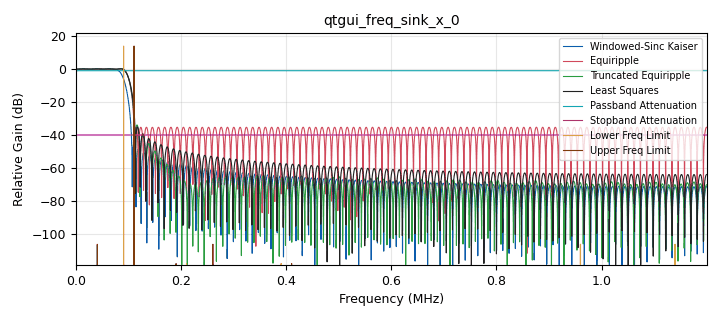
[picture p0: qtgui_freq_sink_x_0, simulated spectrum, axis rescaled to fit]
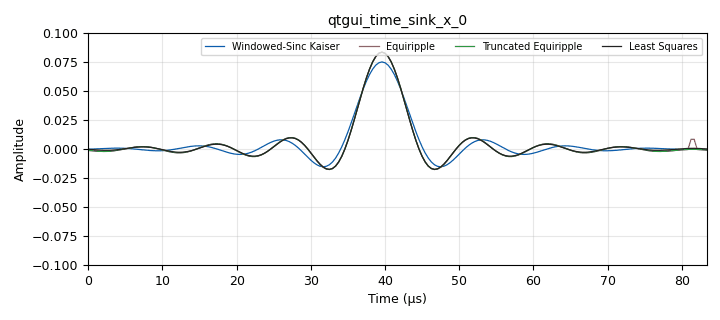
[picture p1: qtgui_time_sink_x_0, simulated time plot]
options:
  parameters:
    author: Gary Schafer
    comment: |-
      This flowgraph compares two optimal filters
      (a least squares filter and an equiripple / Remez
      filter) with a windowed-sinc filter using the same
      passband edge, stopband edge, transition
      width, and number of taps.
    generate_options: qt_gui
    id: optimalFilter
    output_language: python
    title: Optimal Filters
  states: {}

blocks:
- name: N
  id: variable
  parameters:
    value: 2**14
  states: {}
- name: a
  id: variable
  parameters:
    comment: 'Value: [1,1,0,0]'
    value: '[1,1,0,0]'
  states: {}
- name: freq
  id: variable
  parameters:
    comment: 'Value: [0,passband*1000,stopband*1000,samp_rate/2]'
    value: '[0,passband*1000,stopband*1000,samp_rate/2]'
  states: {}
- name: k
  id: variable_qtgui_range
  parameters:
    gui_hint: 2,0,1,20
    label: 'Kaiser Beta Value: '
    start: '1'
    step: '0.05'
    stop: '20'
    value: '4'
  states: {}
- name: ls_freq
  id: variable
  parameters:
    comment: 'Value: [0,passband,stopband,samp_rate/2]'
    value: '[0,passband*1000,stopband*1000,samp_rate/2]'
  states: {}
- name: lstaps
  id: variable
  parameters:
    comment: 'Value: sig.firls(firtapsLength,freq,a)'
    value: sig.firls(num_taps,ls_freq,a,fs=samp_rate)
  states: {}
- name: num_taps
  id: variable_qtgui_range
  parameters:
    gui_hint: 1,0,1,20
    label: 'Number of taps: '
    rangeType: int
    start: '11'
    step: '2'
    stop: '2001'
    value: '201'
  states: {}
- name: optfirTaps
  id: variable
  parameters:
    value: sig.remez(num_taps,[0, passband*1000, stopband*1000, samp_rate/2], [1,0],fs=samp_rate)
  states: {}
- name: optfirTapsTrunc
  id: variable
  parameters:
    value: optfirTaps[1:-1]
  states: {}
- name: passband
  id: variable_qtgui_range
  parameters:
    gui_hint: 0,0,1,10
    label: Passband (kHz)
    start: '50'
    step: '0.1'
    stop: '200'
    value: '90'
  states: {}
- name: passband_atten
  id: variable_qtgui_label
  parameters:
    gui_hint: 4,0,1,5
    label: 'Required passband attenuation (dB): '
    type: real
    value: '1'
  states: {}
- name: passband_atten_lin
  id: variable
  parameters:
    value: 10**(-passband_atten/20)
  states: {}
- name: samp_rate
  id: variable
  parameters:
    value: 2.4e6
  states: {}
- name: stopband
  id: variable_qtgui_range
  parameters:
    gui_hint: 0,10,1,10
    label: 'Stopband (kHz): '
    start: '50'
    step: '0.1'
    stop: '200'
    value: '110'
  states: {}
- name: stopband_atten
  id: variable_qtgui_label
  parameters:
    gui_hint: 4,5,1,5
    label: 'Required stopband attenuation (dB): '
    type: real
    value: '40'
  states: {}
- name: stopband_atten_lin
  id: variable
  parameters:
    value: 10**(-stopband_atten/20)
  states: {}
- name: tap_max
  id: variable
  parameters:
    value: 1.2*np.max(optfirTaps)
  states: {}
- name: trans_width
  id: variable
  parameters:
    value: (stopband-passband)*1000
  states: {}
- name: win_sinc
  id: variable
  parameters:
    comment: 'Value: sig.firwin(num_taps, (passband*1000), window=(''kaiser'',k), fs=samp_rate)'
    value: sig.firwin(num_taps, (passband*1000), window=('kaiser',k), fs=samp_rate)
  states: {}
- name: analog_sig_source_x_0
  id: analog_sig_source_x
  parameters:
    amp: '10'
    freq: samp_rate/N*751
    offset: '0'
    phase: '0'
    samp_rate: samp_rate
    type: float
    waveform: analog.GR_COS_WAVE
  states: {}
- name: analog_sig_source_x_0_0
  id: analog_sig_source_x
  parameters:
    amp: '10'
    freq: samp_rate/N*615
    offset: '0'
    phase: '0'
    samp_rate: samp_rate
    type: float
    waveform: analog.GR_COS_WAVE
  states: {}
- name: blocks_delay_0
  id: blocks_delay
  parameters:
    delay: '1'
    type: float
  states: {}
- name: blocks_throttle2_0
  id: blocks_throttle2
  parameters:
    samples_per_second: samp_rate
    type: float
  states: {}
- name: blocks_vector_source_x_0
  id: blocks_vector_source_x
  parameters:
    comment: 'Vector: (N,)+(0,)*(N-1)'
    repeat: 'True'
    type: float
    vector: (N,)+(0,)*(N-1)
  states: {}
- name: blocks_vector_source_x_0_0
  id: blocks_vector_source_x
  parameters:
    comment: 'Vector: (N,)+(0,)*(N-1)'
    repeat: 'True'
    type: float
    vector: '[1,]+[0,]*int(num_taps-1)'
  states: {}
- name: blocks_vector_source_x_0_1
  id: blocks_vector_source_x
  parameters:
    repeat: 'True'
    type: float
    vector: '[(N*stopband_atten_lin),]+[0,]*int(N-1)'
  states: {}
- name: blocks_vector_source_x_0_1_0
  id: blocks_vector_source_x
  parameters:
    repeat: 'True'
    type: float
    vector: '[(N*passband_atten_lin),]+[0,]*int(N-1)'
  states: {}
- name: fft_filter_xxx_0
  id: fft_filter_xxx
  parameters:
    comment: Least square filter
    decim: '1'
    taps: lstaps
    type: fff
  states: {}
- name: fft_filter_xxx_0_0
  id: fft_filter_xxx
  parameters:
    comment: Least square filter
    decim: '1'
    taps: lstaps
    type: fff
  states: {}
- name: fft_filter_xxx_1
  id: fft_filter_xxx
  parameters:
    comment: Optimal filter
    decim: '1'
    taps: optfirTaps
    type: fff
  states: {}
- name: fft_filter_xxx_1_0
  id: fft_filter_xxx
  parameters:
    comment: Truncated optimal filter
    decim: '1'
    taps: optfirTapsTrunc
    type: fff
  states: {}
- name: fft_filter_xxx_1_0_0
  id: fft_filter_xxx
  parameters:
    comment: Windowed-sinc filter
    decim: '1'
    taps: win_sinc
    type: fff
  states: {}
- name: fft_filter_xxx_1_0_0_0
  id: fft_filter_xxx
  parameters:
    comment: Windowed-sinc filter
    decim: '1'
    taps: win_sinc
    type: fff
  states: {}
- name: fft_filter_xxx_1_0_1
  id: fft_filter_xxx
  parameters:
    comment: Truncated optimal filter
    decim: '1'
    taps: optfirTapsTrunc
    type: fff
  states: {}
- name: fft_filter_xxx_1_1
  id: fft_filter_xxx
  parameters:
    comment: Optimal filter
    decim: '1'
    taps: optfirTaps
    type: fff
  states: {}
- name: import_0
  id: import
  parameters:
    comment: 'Import: import scipy.signal as sig'
    imports: import scipy.signal as sig
  states: {}
- name: import_1
  id: import
  parameters:
    comment: 'Import: import numpy as np'
    imports: import numpy as np
  states: {}
- name: myTabs
  id: qtgui_tab_widget
  parameters:
    gui_hint: 5,0,20,20
    label0: Frequency Response
    label1: Impulse Response
    num_tabs: '2'
  states: {}
- name: qtgui_freq_sink_x_0
  id: qtgui_freq_sink_x
  parameters:
    bw: samp_rate
    color5: '"dark green"'
    color6: '"dark green"'
    color7: '"dark red"'
    fc: '0'
    fftsize: N
    freqhalf: 'False'
    grid: 'True'
    gui_hint: myTabs@0
    label1: Windowed-Sinc Kaiser
    label2: Equiripple
    label3: Truncated Equiripple
    label4: Least Squares
    label5: Passband Attenuation
    label6: Stopband Attenuation
    label7: Lower Freq Limit
    label8: Upper Freq Limit
    nconnections: '8'
    type: float
    width1: '2'
    width2: '2'
    width3: '2'
    width4: '2'
    wintype: window.WIN_RECTANGULAR
  states: {}
- name: qtgui_time_sink_x_0
  id: qtgui_time_sink_x
  parameters:
    grid: 'True'
    gui_hint: myTabs@1
    label1: Windowed-Sinc Kaiser
    label2: Equiripple
    label3: Truncated Equiripple
    label4: Least Squares
    nconnections: '4'
    size: num_taps
    srate: samp_rate
    type: float
    ymax: tap_max
    ymin: '-tap_max'
  states: {}

connections:
- [analog_sig_source_x_0, '0', qtgui_freq_sink_x_0, '7']
- [analog_sig_source_x_0_0, '0', qtgui_freq_sink_x_0, '6']
- [blocks_delay_0, '0', fft_filter_xxx_1_0_1, '0']
- [blocks_throttle2_0, '0', fft_filter_xxx_0, '0']
- [blocks_throttle2_0, '0', fft_filter_xxx_1, '0']
- [blocks_throttle2_0, '0', fft_filter_xxx_1_0, '0']
- [blocks_throttle2_0, '0', fft_filter_xxx_1_0_0, '0']
- [blocks_vector_source_x_0, '0', blocks_throttle2_0, '0']
- [blocks_vector_source_x_0_0, '0', blocks_delay_0, '0']
- [blocks_vector_source_x_0_0, '0', fft_filter_xxx_0_0, '0']
- [blocks_vector_source_x_0_0, '0', fft_filter_xxx_1_0_0_0, '0']
- [blocks_vector_source_x_0_0, '0', fft_filter_xxx_1_1, '0']
- [blocks_vector_source_x_0_1, '0', qtgui_freq_sink_x_0, '5']
- [blocks_vector_source_x_0_1_0, '0', qtgui_freq_sink_x_0, '4']
- [fft_filter_xxx_0, '0', qtgui_freq_sink_x_0, '3']
- [fft_filter_xxx_0_0, '0', qtgui_time_sink_x_0, '3']
- [fft_filter_xxx_1, '0', qtgui_freq_sink_x_0, '1']
- [fft_filter_xxx_1_0, '0', qtgui_freq_sink_x_0, '2']
- [fft_filter_xxx_1_0_0, '0', qtgui_freq_sink_x_0, '0']
- [fft_filter_xxx_1_0_0_0, '0', qtgui_time_sink_x_0, '0']
- [fft_filter_xxx_1_0_1, '0', qtgui_time_sink_x_0, '2']
- [fft_filter_xxx_1_1, '0', qtgui_time_sink_x_0, '1']

metadata:
  file_format: 1
  grc_version: 3.10.9.2
